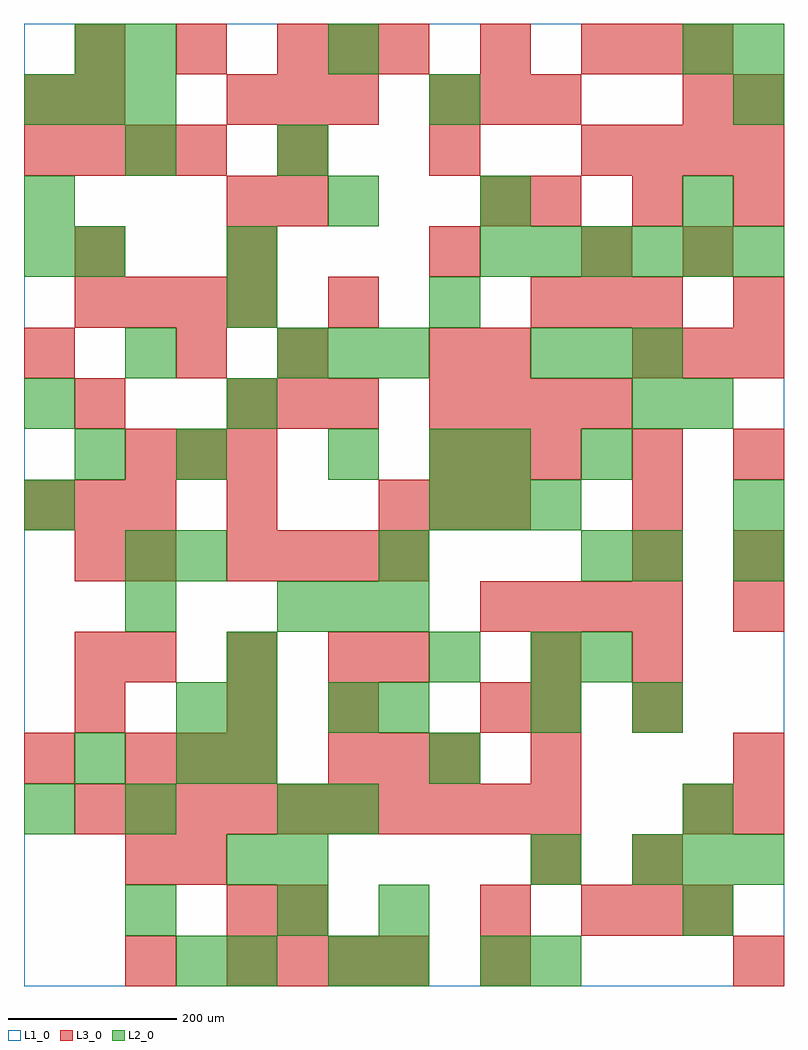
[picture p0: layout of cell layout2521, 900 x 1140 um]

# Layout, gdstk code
import gdstk
lib = gdstk.Library(unit=1e-6, precision=1e-09)
def R(c, l, rs):  # rectangles x0, y0, x1, y1
    for r in rs: c.add(gdstk.rectangle(r[:2], r[2:], *l))
def A(c, l, x, y, w, h, nx, ny, dx, dy):  # array of equal rectangles
    R(c, l, [(x+i*dx, y+j*dy, x+i*dx+w, y+j*dy+h) for i in range(nx) for j in range(ny)])
L1_0 = (1, 0)
L2_0 = (2, 0)
L3_0 = (3, 0)

layout2521 = lib.new_cell('layout2521')
R(layout2521, L1_0, [(0,0,900,1140)])
A(layout2521, L2_0, 240, 0, 60, 60, 1, 3, 0, 120)
A(layout2521, L2_0, 300, 60, 60, 60, 1, 3, 0, 60)
A(layout2521, L2_0, 720, 120, 60, 60, 3, 1, 60, 0)
A(layout2521, L2_0, 360, 300, 60, 60, 1, 3, 0, 300)
A(layout2521, L2_0, 720, 300, 60, 60, 1, 3, 0, 180)
A(layout2521, L2_0, 300, 420, 60, 60, 3, 2, 60, 300)
A(layout2521, L2_0, 120, 480, 60, 60, 1, 3, 0, 240)
A(layout2521, L2_0, 180, 480, 60, 60, 3, 1, 240, 0)
A(layout2521, L2_0, 480, 540, 60, 60, 3, 1, 60, 0)
A(layout2521, L2_0, 60, 600, 60, 60, 1, 3, 0, 240)
A(layout2521, L2_0, 600, 720, 60, 60, 3, 1, 60, 0)
A(layout2521, L2_0, 540, 840, 60, 60, 6, 1, 60, 0)
A(layout2521, L2_0, 0, 1020, 60, 60, 3, 1, 60, 0)
R(layout2521, L2_0, [(180,0,240,60), (360,0,420,60), (420,0,480,60), (540,0,600,60), (600,0,660,60), (120,60,180,120), (420,60,480,120), (780,60,840,120), (600,120,660,180), (0,180,60,240), (120,180,180,240), (360,180,420,240), (780,180,840,240), (60,240,120,300), (180,240,240,300), (480,240,540,300), (180,300,240,360), (240,300,300,360), (420,300,480,360), (600,300,660,360), (240,360,300,420), (480,360,540,420), (600,360,660,420), (660,360,720,420), (120,420,180,480), (840,480,900,540), (0,540,60,600), (840,540,900,600), (180,600,240,660), (480,600,540,660), (540,600,600,660), (660,600,720,660), (0,660,60,720), (240,660,300,720), (780,660,840,720), (240,780,300,840), (480,780,540,840), (0,840,60,900), (240,840,300,900), (0,900,60,960), (540,900,600,960), (780,900,840,960), (300,960,360,1020), (480,1020,540,1080), (840,1020,900,1080), (120,1080,180,1140), (360,1080,420,1140), (780,1080,840,1140), (840,1080,900,1140)])
A(layout2521, L3_0, 240, 0, 60, 60, 4, 2, 60, 480)
A(layout2521, L3_0, 240, 60, 60, 60, 1, 3, 0, 240)
A(layout2521, L3_0, 660, 60, 60, 60, 3, 1, 60, 0)
A(layout2521, L3_0, 60, 180, 60, 60, 10, 1, 60, 0)
A(layout2521, L3_0, 120, 240, 60, 60, 3, 2, 60, 360)
A(layout2521, L3_0, 360, 240, 60, 60, 3, 1, 60, 0)
A(layout2521, L3_0, 600, 240, 60, 60, 1, 3, 0, 60)
A(layout2521, L3_0, 120, 360, 60, 60, 3, 1, 120, 0)
A(layout2521, L3_0, 540, 420, 60, 60, 4, 1, 60, 0)
A(layout2521, L3_0, 60, 480, 60, 60, 1, 4, 0, 180)
A(layout2521, L3_0, 720, 480, 60, 60, 1, 3, 0, 60)
A(layout2521, L3_0, 0, 540, 60, 60, 3, 1, 60, 0)
A(layout2521, L3_0, 420, 540, 60, 60, 3, 1, 60, 0)
A(layout2521, L3_0, 480, 600, 60, 60, 3, 2, 60, 420)
A(layout2521, L3_0, 240, 660, 60, 60, 3, 2, 60, 360)
A(layout2521, L3_0, 480, 660, 60, 60, 4, 1, 60, 0)
A(layout2521, L3_0, 720, 720, 60, 60, 3, 2, 60, 240)
A(layout2521, L3_0, 60, 780, 60, 60, 4, 1, 60, 0)
A(layout2521, L3_0, 600, 780, 60, 60, 3, 1, 60, 0)
A(layout2521, L3_0, 600, 900, 60, 60, 3, 1, 120, 0)
A(layout2521, L3_0, 0, 960, 60, 60, 4, 1, 60, 0)
A(layout2521, L3_0, 300, 960, 60, 60, 3, 1, 180, 0)
A(layout2521, L3_0, 60, 1080, 60, 60, 3, 1, 120, 0)
A(layout2521, L3_0, 420, 1080, 60, 60, 3, 1, 120, 0)
R(layout2521, L3_0, [(120,0,180,60), (540,0,600,60), (840,0,900,60), (300,60,360,120), (540,60,600,120), (120,120,180,180), (180,120,240,180), (600,120,660,180), (720,120,780,180), (780,180,840,240), (840,180,900,240), (0,240,60,300), (840,240,900,300), (60,300,120,360), (360,300,420,360), (540,300,600,360), (720,300,780,360), (60,360,120,420), (420,360,480,420), (720,360,780,420), (840,420,900,480), (120,480,180,540), (840,480,900,540), (840,600,900,660), (0,720,60,780), (180,720,240,780), (300,720,360,780), (480,720,540,780), (540,720,600,780), (360,780,420,840), (840,780,900,840), (240,840,300,900), (480,840,540,900), (660,840,720,900), (780,840,840,900), (240,900,300,960), (300,900,360,960), (540,900,600,960), (0,1020,60,1080), (780,1020,840,1080), (840,1020,900,1080), (360,1080,420,1140), (720,1080,780,1140), (780,1080,840,1140)])

lib.write_gds('layout2521.gds')
